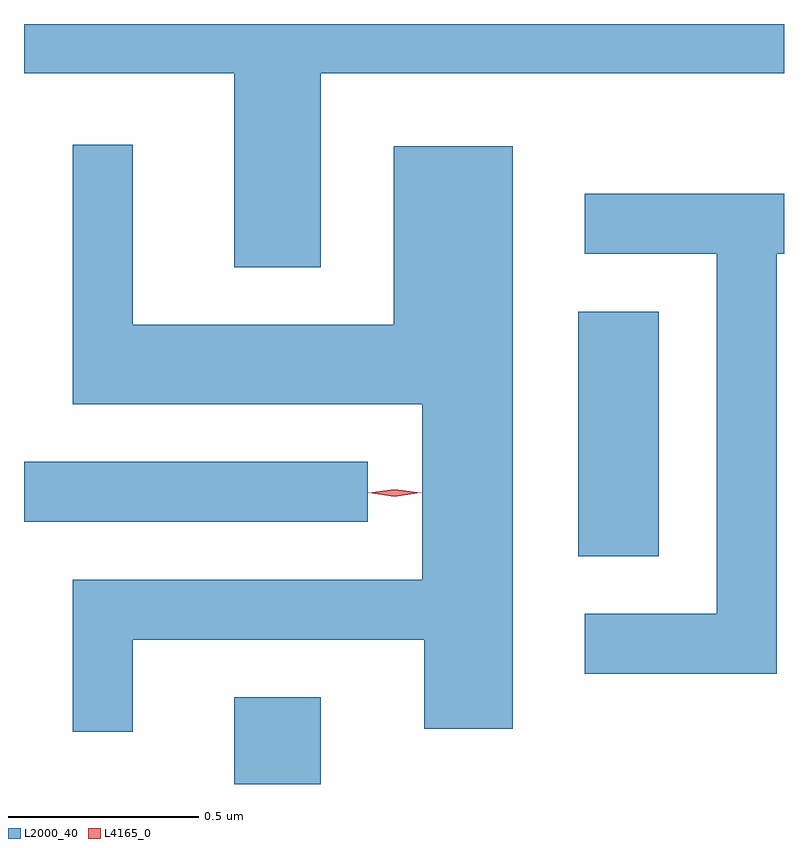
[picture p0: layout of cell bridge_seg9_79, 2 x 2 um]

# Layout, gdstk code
import gdstk
lib = gdstk.Library(unit=1e-6, precision=1e-09)
def R(c, l, rs):  # rectangles x0, y0, x1, y1
    for r in rs: c.add(gdstk.rectangle(r[:2], r[2:], *l))
def P(c, l, *ps):  # polygons
    for p in ps: c.add(gdstk.Polygon(p, *l))
L2000_40 = (2000, 40)
L4165_0 = (4165, 0)

bridge_seg9_79 = lib.new_cell('bridge_seg9_79')
R(bridge_seg9_79, L2000_40, [(1797.251,1978.846,1797.479,1979.074), (1798.156,1979.446,1798.369,1980.089), (1796.698,1979.536,1797.603,1979.694)])
P(bridge_seg9_79, L2000_40, [(1797.479,1980.716),(1798.698,1980.716),(1798.698,1980.846),(1796.698,1980.846),(1796.698,1980.716),(1797.251,1980.716),(1797.251,1980.206),(1797.479,1980.206)],
  [(1796.984,1979.226),(1797.751,1979.226),(1797.751,1978.991),(1797.984,1978.991),(1797.984,1980.524),(1797.671,1980.524),(1797.671,1980.054),(1796.984,1980.054),(1796.984,1980.528),(1796.826,1980.528),(1796.826,1979.846),(1797.746,1979.846),(1797.746,1979.384),(1796.826,1979.384),(1796.826,1978.983),(1796.984,1978.983)],
  [(1798.679,1980.241),(1798.698,1980.241),(1798.698,1980.399),(1798.173,1980.399),(1798.173,1980.241),(1798.521,1980.241),(1798.521,1979.294),(1798.173,1979.294),(1798.173,1979.136),(1798.679,1979.136)])
P(bridge_seg9_79, L4165_0, [(1797.673,1979.602),(1797.604,1979.612),(1797.603,1979.612),(1797.604,1979.613),(1797.673,1979.622),(1797.742,1979.613),(1797.743,1979.612),(1797.742,1979.612)],
  [(1797.674,1979.602),(1797.607,1979.612),(1797.607,1979.612),(1797.607,1979.613),(1797.674,1979.622),(1797.74,1979.613),(1797.74,1979.612),(1797.74,1979.612)])

lib.write_gds('bridge_seg9_79.gds')
